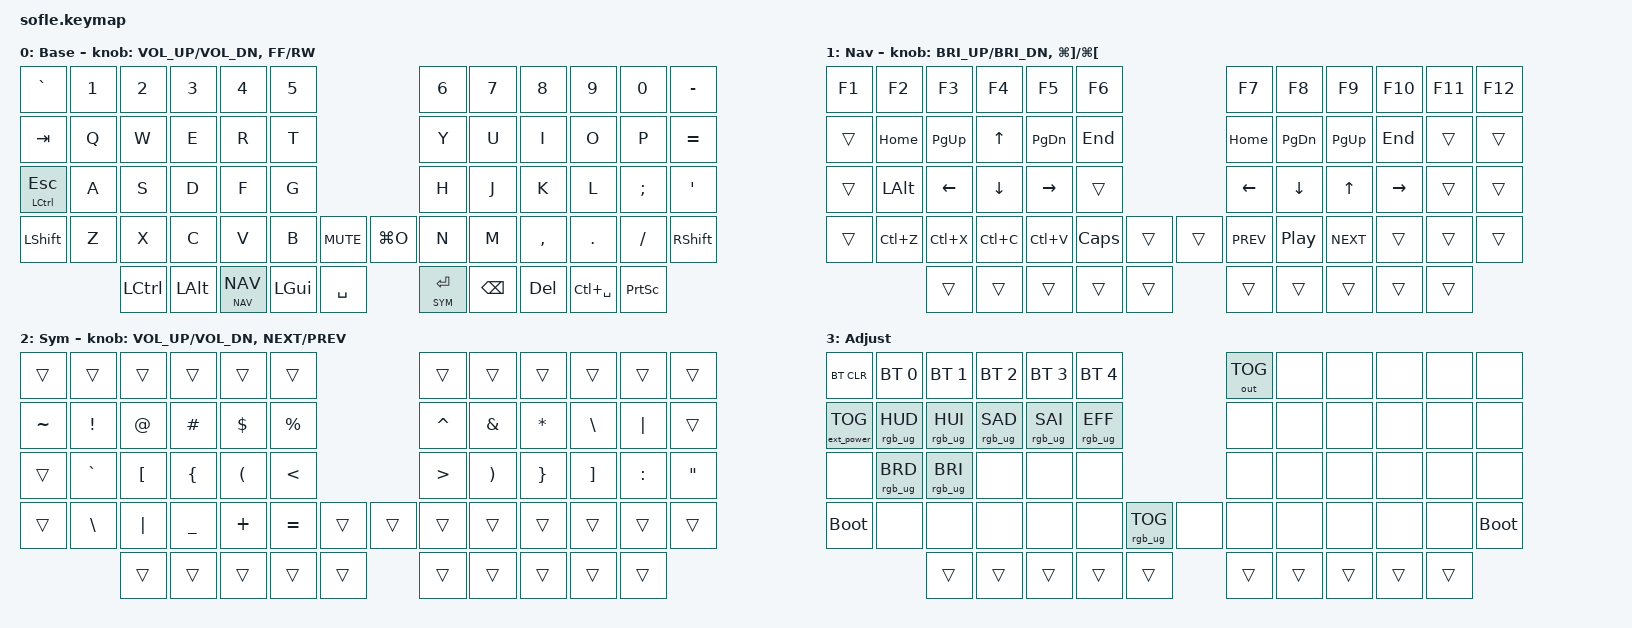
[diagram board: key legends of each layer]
/*
 * Copyright (c) 2020 The ZMK Contributors
 *
 * SPDX-License-Identifier: MIT
 *
 * Layout for niri + Zed (helix mode) + VNI typing, kept close to the MacBook
 * keyboard: Super sits right next to Space under the left thumb.
 */

#include <behaviors.dtsi>
#include <dt-bindings/zmk/bt.h>
#include <dt-bindings/zmk/ext_power.h>
#include <dt-bindings/zmk/keys.h>
#include <dt-bindings/zmk/outputs.h>
#include <dt-bindings/zmk/rgb.h>

#define BASE 0
#define NAV 1
#define SYM 2
#define ADJUST 3

/ {
    behaviors {
        // Caps position: tap = Esc (helix normal mode), hold = Ctrl.
        // hold-preferred: any key pressed while held makes it Ctrl at once, so
        // fast rolled Ctrl+C / Ctrl+V work even if Caps is released first.
        ctl_esc: ctl_esc {
            compatible = "zmk,behavior-hold-tap";
            #binding-cells = <2>;
            flavor = "hold-preferred";
            tapping-term-ms = <200>;
            bindings = <&kp>, <&kp>;
        };

        // NAV thumb: hold = NAV while held, tap = lock/unlock NAV.
        nav_lock: nav_lock {
            compatible = "zmk,behavior-hold-tap";
            #binding-cells = <2>;
            flavor = "hold-preferred";
            tapping-term-ms = <200>;
            bindings = <&mo>, <&tog>;
        };

        // Right inner thumb: tap = Enter, hold = SYM layer.
        ent_sym: ent_sym {
            compatible = "zmk,behavior-hold-tap";
            #binding-cells = <2>;
            flavor = "balanced";
            tapping-term-ms = <200>;
            quick-tap-ms = <175>;
            bindings = <&mo>, <&kp>;
        };
    };

    // Hold NAV + SYM together for ADJUST.
    conditional_layers {
        compatible = "zmk,conditional-layers";

        adjust_layer {
            if-layers = <NAV SYM>;
            then-layer = <ADJUST>;
        };
    };

    keymap {
        compatible = "zmk,keymap";

        base_layer {
            display-name = "Base";

            // |    `     |  1  |  2  |  3  |  4  |  5  |                 |  6  |  7  |  8  |  9  |  0  |   -   |
            // |   TAB    |  Q  |  W  |  E  |  R  |  T  |                 |  Y  |  U  |  I  |  O  |  P  |   =   |
            // | CTRL/ESC |  A  |  S  |  D  |  F  |  G  |                 |  H  |  J  |  K  |  L  |  ;  |   '   |
            // |  SHIFT   |  Z  |  X  |  C  |  V  |  B  | MUTE |  | OVRV |  N  |  M  |  ,  |  .  |  /  | SHIFT |
            //                  | CTRL| ALT | NAV |SUPER|SPACE |  |ENT/SYM| BSPC| DEL |VI/EN| PSCR|
            // OVRV = Super+O (niri overview). VI/EN = Ctrl+Space (fcitx5 toggle).

            bindings = <
&kp GRAVE           &kp N1     &kp N2    &kp N3    &kp N4    &kp N5                                      &kp N6     &kp N7     &kp N8     &kp N9    &kp N0    &kp MINUS
&kp TAB             &kp Q      &kp W     &kp E     &kp R     &kp T                                       &kp Y      &kp U      &kp I      &kp O     &kp P     &kp EQUAL
&ctl_esc LCTRL ESC  &kp A      &kp S     &kp D     &kp F     &kp G                                       &kp H      &kp J      &kp K      &kp L     &kp SEMI  &kp SQT
&kp LSHFT           &kp Z      &kp X     &kp C     &kp V     &kp B     &kp C_MUTE    &kp LG(O)           &kp N      &kp M      &kp COMMA  &kp DOT   &kp FSLH  &kp RSHFT
                               &kp LCTRL &kp LALT  &nav_lock NAV NAV  &kp LGUI  &kp SPACE     &ent_sym SYM ENTER  &kp BSPC   &kp DEL    &kp LC(SPACE)  &kp PSCRN
            >;

            // Left: volume. Right: seek the playing media +/-5s (niri runs playerctl on
            // XF86AudioForward/Rewind, so it works without focusing the player).
            sensor-bindings = <&inc_dec_kp C_VOL_UP C_VOL_DN &inc_dec_kp C_FF C_RW>;
        };

        nav_layer {
            display-name = "Nav";

            // |  F1  |  F2  |  F3  |  F4  |  F5  |  F6  |               |  F7  |  F8  |  F9  |  F10 |  F11 |  F12 |
            // |      | HOME | PGUP |  ^   | PGDN | END  |               | HOME | PGDN | PGUP | END  |      |      |
            // |(CTRL)| ALT  |  <-  |  v   |  ->  |      |               |  <-  |  v   |  ^   |  ->  |      |      |
            // Left ESDF arrows for one-hand use with NAV locked; Ctrl/Shift come from the base outer column.
            // |      | UNDO | CUT  | COPY | PASTE| CAPS |      |  |     | PREV | PLAY | NEXT |      |      |      |

            bindings = <
&kp F1    &kp F2     &kp F3     &kp F4     &kp F5     &kp F6                         &kp F7      &kp F8     &kp F9      &kp F10    &kp F11  &kp F12
&trans    &kp HOME   &kp PG_UP  &kp UP     &kp PG_DN  &kp END                        &kp HOME    &kp PG_DN  &kp PG_UP   &kp END    &trans   &trans
&trans    &kp LALT   &kp LEFT   &kp DOWN   &kp RIGHT  &trans                         &kp LEFT    &kp DOWN   &kp UP      &kp RIGHT  &trans   &trans
&trans    &kp LC(Z)  &kp LC(X)  &kp LC(C)  &kp LC(V)  &kp CAPS   &trans    &trans    &kp C_PREV  &kp C_PP   &kp C_NEXT  &trans     &trans   &trans
                     &trans     &trans     &trans     &trans     &trans    &trans    &trans      &trans     &trans      &trans
            >;

            // Left: screen brightness. Right: niri consume-or-expel window right/left (Super+] / Super+[).
            sensor-bindings = <&inc_dec_kp C_BRI_UP C_BRI_DN &inc_dec_kp LG(RBKT) LG(LBKT)>;
        };

        sym_layer {
            display-name = "Sym";

            // |      |      |      |      |      |      |               |      |      |      |      |      |      |
            // |  ~   |  !   |  @   |  #   |  $   |  %   |               |  ^   |  &   |  *   |  \   |  |   |      |
            // |      |  `   |  [   |  {   |  (   |  <   |               |  >   |  )   |  }   |  ]   |  :   |  "   |
            // |      |  \   |  |   |  _   |  +   |  =   |      |  |     |      |      |      |      |      |      |

            bindings = <
&trans     &trans     &trans     &trans     &trans     &trans                        &trans     &trans     &trans     &trans     &trans     &trans
&kp TILDE  &kp EXCL   &kp AT     &kp HASH   &kp DLLR   &kp PRCNT                     &kp CARET  &kp AMPS   &kp STAR   &kp BSLH   &kp PIPE   &trans
&trans     &kp GRAVE  &kp LBKT   &kp LBRC   &kp LPAR   &kp LT                        &kp GT     &kp RPAR   &kp RBRC   &kp RBKT   &kp COLON  &kp DQT
&trans     &kp BSLH   &kp PIPE   &kp UNDER  &kp PLUS   &kp EQUAL  &trans    &trans   &trans     &trans     &trans     &trans     &trans     &trans
                      &trans     &trans     &trans     &trans     &trans    &trans   &trans     &trans     &trans     &trans
            >;

            // Left: volume. Right: next/previous track.
            sensor-bindings = <&inc_dec_kp C_VOL_UP C_VOL_DN &inc_dec_kp C_NEXT C_PREV>;
        };

        adjust_layer {
            display-name = "Adjust";

            // | BTCLR | BT0  | BT1  | BT2  | BT3  | BT4  |                 |USB/BLE|      |      |      |      |       |
            // | EXTPW | HUD  | HUI  | SAD  | SAI  | EFF  |                 |       |      |      |      |      |       |
            // |       | BRD  | BRI  |      |      |      |                 |       |      |      |      |      |       |
            // | BOOT  |      |      |      |      |      | RGBTOG |  |     |       |      |      |      |      | BOOT  |
            // BOOT = enter the UF2 bootloader of that half (no reset button needed).

            bindings = <
&bt BT_CLR         &bt BT_SEL 0     &bt BT_SEL 1     &bt BT_SEL 2     &bt BT_SEL 3     &bt BT_SEL 4                          &out OUT_TOG  &none   &none   &none   &none   &none
&ext_power EP_TOG  &rgb_ug RGB_HUD  &rgb_ug RGB_HUI  &rgb_ug RGB_SAD  &rgb_ug RGB_SAI  &rgb_ug RGB_EFF                       &none         &none   &none   &none   &none   &none
&none              &rgb_ug RGB_BRD  &rgb_ug RGB_BRI  &none            &none            &none                                 &none         &none   &none   &none   &none   &none
&bootloader        &none            &none            &none            &none            &none            &rgb_ug RGB_TOG  &none   &none         &none   &none   &none   &none   &bootloader
                                    &trans           &trans           &trans           &trans           &trans           &trans  &trans        &trans  &trans  &trans
            >;
        };
    };
};
